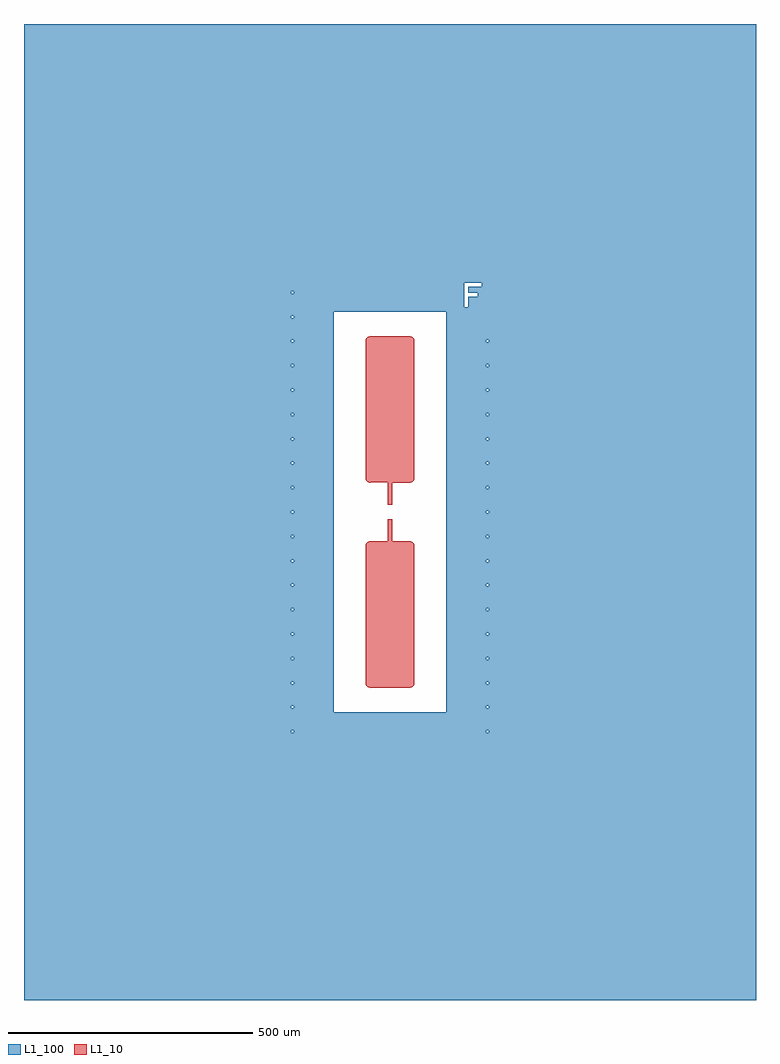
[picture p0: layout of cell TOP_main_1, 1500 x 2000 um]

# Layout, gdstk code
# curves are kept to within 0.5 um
import gdstk
lib = gdstk.Library(unit=1e-6, precision=1e-09)
def R(c, l, rs):  # rectangles x0, y0, x1, y1
    for r in rs: c.add(gdstk.rectangle(r[:2], r[2:], *l))
def A(c, l, x, y, w, h, nx, ny, dx, dy):  # array of equal rectangles
    R(c, l, [(x+i*dx, y+j*dy, x+i*dx+w, y+j*dy+h) for i in range(nx) for j in range(ny)])
def P(c, l, *ps):  # polygons
    for p in ps: c.add(gdstk.Polygon(p, *l))
L1_10 = (1, 10)
L1_100 = (1, 100)

top_main_1_cheese_100 = lib.new_cell('TOP_main_1_Cheese_100')
A(top_main_1_cheese_100, L1_100, -252.5, -502.5, 5, 5, 10, 1, 50, 0)
A(top_main_1_cheese_100, L1_100, -252.5, -452.5, 5, 5, 1, 19, 0, 50)
P(top_main_1_cheese_100, L1_100, [(-115,-410),(-115,-252.5),(-750,-252.5),(-750,-302.5),(-252.5,-302.5),(-252.5,-297.5),(-247.5,-297.5),(-247.5,-302.5),(-202.5,-302.5),(-202.5,-297.5),(-197.5,-297.5),(-197.5,-302.5),(-202.5,-302.5),(-247.5,-302.5),(-252.5,-302.5),(-750,-302.5),(-750,-352.5),(-252.5,-352.5),(-252.5,-347.5),(-247.5,-347.5),(-247.5,-352.5),(-202.5,-352.5),(-202.5,-347.5),(-197.5,-347.5),(-197.5,-352.5),(-202.5,-352.5),(-247.5,-352.5),(-252.5,-352.5),(-750,-352.5),(-750,-402.5),(-252.5,-402.5),(-252.5,-397.5),(-247.5,-397.5),(-247.5,-402.5),(-202.5,-402.5),(-202.5,-397.5),(-197.5,-397.5),(-197.5,-402.5),(-202.5,-402.5),(-247.5,-402.5),(-252.5,-402.5),(-750,-402.5),(-750,-452.5),(-252.5,-452.5),(-252.5,-447.5),(-247.5,-447.5),(-247.5,-452.5),(-202.5,-452.5),(-202.5,-447.5),(-197.5,-447.5),(-197.5,-452.5),(197.5,-452.5),(197.5,-447.5),(202.5,-447.5),(202.5,-452.5),(197.5,-452.5),(-197.5,-452.5),(-202.5,-452.5),(-247.5,-452.5),(-252.5,-452.5),(-750,-452.5),(-750,-502.5),(-252.5,-502.5),(-252.5,-497.5),(-247.5,-497.5),(-247.5,-502.5),(-202.5,-502.5),(-202.5,-497.5),(-197.5,-497.5),(-197.5,-502.5),(-152.5,-502.5),(-152.5,-497.5),(-147.5,-497.5),(-147.5,-502.5),(-102.5,-502.5),(-102.5,-497.5),(-97.5,-497.5),(-97.5,-502.5),(-52.5,-502.5),(-52.5,-497.5),(-47.5,-497.5),(-47.5,-502.5),(-2.5,-502.5),(-2.5,-497.5),(2.5,-497.5),(2.5,-502.5),(47.5,-502.5),(47.5,-497.5),(52.5,-497.5),(52.5,-502.5),(97.5,-502.5),(97.5,-497.5),(102.5,-497.5),(102.5,-502.5),(147.5,-502.5),(147.5,-497.5),(152.5,-497.5),(152.5,-502.5),(197.5,-502.5),(197.5,-497.5),(202.5,-497.5),(202.5,-502.5),(197.5,-502.5),(152.5,-502.5),(147.5,-502.5),(102.5,-502.5),(97.5,-502.5),(52.5,-502.5),(47.5,-502.5),(2.5,-502.5),(-2.5,-502.5),(-47.5,-502.5),(-52.5,-502.5),(-97.5,-502.5),(-102.5,-502.5),(-147.5,-502.5),(-152.5,-502.5),(-197.5,-502.5),(-202.5,-502.5),(-247.5,-502.5),(-252.5,-502.5),(-750,-502.5),(-750,-1000),(750,-1000),(750,-252.5),(115,-252.5),(115,-302.5),(197.5,-302.5),(197.5,-297.5),(202.5,-297.5),(202.5,-302.5),(197.5,-302.5),(115,-302.5),(115,-352.5),(197.5,-352.5),(197.5,-347.5),(202.5,-347.5),(202.5,-352.5),(197.5,-352.5),(115,-352.5),(115,-402.5),(197.5,-402.5),(197.5,-397.5),(202.5,-397.5),(202.5,-402.5),(197.5,-402.5),(115,-402.5),(115,-410)],
  [(-247.5,-247.5),(-247.5,-252.5),(-202.5,-252.5),(-202.5,-247.5),(-197.5,-247.5),(-197.5,-252.5),(-115,-252.5),(-115,97.5),(-750,97.5),(-750,47.5),(-252.5,47.5),(-252.5,52.5),(-247.5,52.5),(-247.5,47.5),(-202.5,47.5),(-202.5,52.5),(-197.5,52.5),(-197.5,47.5),(-202.5,47.5),(-247.5,47.5),(-252.5,47.5),(-750,47.5),(-750,-2.5),(-252.5,-2.5),(-252.5,2.5),(-247.5,2.5),(-247.5,-2.5),(-202.5,-2.5),(-202.5,2.5),(-197.5,2.5),(-197.5,-2.5),(-202.5,-2.5),(-247.5,-2.5),(-252.5,-2.5),(-750,-2.5),(-750,-52.5),(-252.5,-52.5),(-252.5,-47.5),(-247.5,-47.5),(-247.5,-52.5),(-202.5,-52.5),(-202.5,-47.5),(-197.5,-47.5),(-197.5,-52.5),(-202.5,-52.5),(-247.5,-52.5),(-252.5,-52.5),(-750,-52.5),(-750,-102.5),(-252.5,-102.5),(-252.5,-97.5),(-247.5,-97.5),(-247.5,-102.5),(-202.5,-102.5),(-202.5,-97.5),(-197.5,-97.5),(-197.5,-102.5),(-202.5,-102.5),(-247.5,-102.5),(-252.5,-102.5),(-750,-102.5),(-750,-152.5),(-252.5,-152.5),(-252.5,-147.5),(-247.5,-147.5),(-247.5,-152.5),(-202.5,-152.5),(-202.5,-147.5),(-197.5,-147.5),(-197.5,-152.5),(-202.5,-152.5),(-247.5,-152.5),(-252.5,-152.5),(-750,-152.5),(-750,-202.5),(-252.5,-202.5),(-252.5,-197.5),(-247.5,-197.5),(-247.5,-202.5),(-202.5,-202.5),(-202.5,-197.5),(-197.5,-197.5),(-197.5,-202.5),(-202.5,-202.5),(-247.5,-202.5),(-252.5,-202.5),(-750,-202.5),(-750,-252.5),(-252.5,-252.5),(-252.5,-247.5)],
  [(197.5,-252.5),(197.5,-247.5),(202.5,-247.5),(202.5,-252.5),(750,-252.5),(750,97.5),(115,97.5),(115,47.5),(197.5,47.5),(197.5,52.5),(202.5,52.5),(202.5,47.5),(197.5,47.5),(115,47.5),(115,-2.5),(197.5,-2.5),(197.5,2.5),(202.5,2.5),(202.5,-2.5),(197.5,-2.5),(115,-2.5),(115,-52.5),(197.5,-52.5),(197.5,-47.5),(202.5,-47.5),(202.5,-52.5),(197.5,-52.5),(115,-52.5),(115,-102.5),(197.5,-102.5),(197.5,-97.5),(202.5,-97.5),(202.5,-102.5),(197.5,-102.5),(115,-102.5),(115,-152.5),(197.5,-152.5),(197.5,-147.5),(202.5,-147.5),(202.5,-152.5),(197.5,-152.5),(115,-152.5),(115,-202.5),(197.5,-202.5),(197.5,-197.5),(202.5,-197.5),(202.5,-202.5),(197.5,-202.5),(115,-202.5),(115,-252.5)],
  [(-247.5,102.5),(-247.5,97.5),(-202.5,97.5),(-202.5,102.5),(-197.5,102.5),(-197.5,97.5),(-115,97.5),(-115,410),(115,410),(115,347.5),(197.5,347.5),(197.5,352.5),(202.5,352.5),(202.5,347.5),(197.5,347.5),(115,347.5),(115,297.5),(197.5,297.5),(197.5,302.5),(202.5,302.5),(202.5,297.5),(197.5,297.5),(115,297.5),(115,247.5),(197.5,247.5),(197.5,252.5),(202.5,252.5),(202.5,247.5),(197.5,247.5),(115,247.5),(115,197.5),(197.5,197.5),(197.5,202.5),(202.5,202.5),(202.5,197.5),(197.5,197.5),(115,197.5),(115,147.5),(197.5,147.5),(197.5,152.5),(202.5,152.5),(202.5,147.5),(197.5,147.5),(115,147.5),(115,97.5),(197.5,97.5),(197.5,102.5),(202.5,102.5),(202.5,97.5),(750,97.5),(750,1000),(-750,1000),(-750,447.5),(-252.5,447.5),(-252.5,452.5),(-247.5,452.5),(-247.5,447.5),(-202.5,447.5),(-202.5,452.5),(-197.5,452.5),(-197.5,447.5),(-202.5,447.5),(-247.5,447.5),(-252.5,447.5),(-750,447.5),(-750,420),(152,420),(152,470),(188,470),(188,462),(160,462),(160,449),(180,449),(180,441),(160,441),(160,420),(152,420),(-750,420),(-750,397.5),(-252.5,397.5),(-252.5,402.5),(-247.5,402.5),(-247.5,397.5),(-202.5,397.5),(-202.5,402.5),(-197.5,402.5),(-197.5,397.5),(-202.5,397.5),(-247.5,397.5),(-252.5,397.5),(-750,397.5),(-750,347.5),(-252.5,347.5),(-252.5,352.5),(-247.5,352.5),(-247.5,347.5),(-202.5,347.5),(-202.5,352.5),(-197.5,352.5),(-197.5,347.5),(-202.5,347.5),(-247.5,347.5),(-252.5,347.5),(-750,347.5),(-750,297.5),(-252.5,297.5),(-252.5,302.5),(-247.5,302.5),(-247.5,297.5),(-202.5,297.5),(-202.5,302.5),(-197.5,302.5),(-197.5,297.5),(-202.5,297.5),(-247.5,297.5),(-252.5,297.5),(-750,297.5),(-750,247.5),(-252.5,247.5),(-252.5,252.5),(-247.5,252.5),(-247.5,247.5),(-202.5,247.5),(-202.5,252.5),(-197.5,252.5),(-197.5,247.5),(-202.5,247.5),(-247.5,247.5),(-252.5,247.5),(-750,247.5),(-750,197.5),(-252.5,197.5),(-252.5,202.5),(-247.5,202.5),(-247.5,197.5),(-202.5,197.5),(-202.5,202.5),(-197.5,202.5),(-197.5,197.5),(-202.5,197.5),(-247.5,197.5),(-252.5,197.5),(-750,197.5),(-750,147.5),(-252.5,147.5),(-252.5,152.5),(-247.5,152.5),(-247.5,147.5),(-202.5,147.5),(-202.5,152.5),(-197.5,152.5),(-197.5,147.5),(-202.5,147.5),(-247.5,147.5),(-252.5,147.5),(-750,147.5),(-750,97.5),(-252.5,97.5),(-252.5,102.5)])

top_main_1 = lib.new_cell('TOP_main_1')
P(top_main_1, L1_10, [(5,-15),(5,-60),(41.951,-60.192),(45.556,-61.685),(47.73,-63.656),(49.952,-69.02),(49.952,-350.98),(49.239,-353.827),(47.071,-357.071),(43.827,-359.239),(40.98,-359.952),(-40.98,-359.952),(-44.714,-358.819),(-47.73,-356.344),(-49.239,-353.827),(-50,-350),(-49.952,-69.02),(-47.73,-63.656),(-45.556,-61.685),(-41.951,-60.192),(-5,-60),(-5,-15),(-1,-15),(-1,-19),(1,-19),(1,-15)],
  [(5,15),(1,15),(1,19),(-1,19),(-1,15),(-5,15),(-5,60),(-41.951,60.192),(-45.556,61.685),(-47.73,63.656),(-49.952,69.02),(-50,350),(-49.239,353.827),(-47.73,356.344),(-44.714,358.819),(-40.98,359.952),(40.98,359.952),(43.827,359.239),(47.071,357.071),(49.239,353.827),(49.952,350.98),(49.952,69.02),(47.73,63.656),(45.556,61.685),(41.951,60.192),(5,60)])
top_main_1.add(gdstk.Reference(top_main_1_cheese_100, (0,0)))

lib.write_gds('TOP_main_1.gds')
